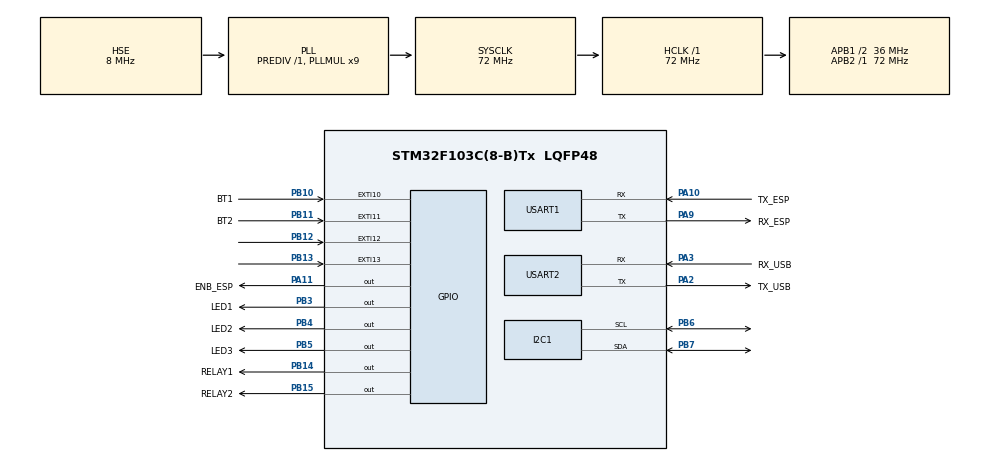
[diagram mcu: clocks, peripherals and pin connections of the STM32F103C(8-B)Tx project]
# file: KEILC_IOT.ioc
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Dma.Request0=USART1_RX
Dma.USART1_RX.0.Direction=DMA_PERIPH_TO_MEMORY
Dma.USART1_RX.0.Instance=DMA1_Channel5
Dma.USART1_RX.0.MemDataAlignment=DMA_MDATAALIGN_BYTE
Dma.USART1_RX.0.MemInc=DMA_MINC_ENABLE
Dma.USART1_RX.0.Mode=DMA_NORMAL
Dma.USART1_RX.0.PeriphDataAlignment=DMA_PDATAALIGN_BYTE
Dma.USART1_RX.0.PeriphInc=DMA_PINC_DISABLE
Dma.USART1_RX.0.Priority=DMA_PRIORITY_LOW
Mcu.Family=STM32F1
Mcu.Name=STM32F103C(8-B)Tx
Mcu.Package=LQFP48
NVIC.DMA1_Channel5_IRQn=true\:0\:0\:false\:false\:true\:false\:true
NVIC.EXTI15_10_IRQn=true\:0\:0\:false\:false\:true\:true\:true
NVIC.PriorityGroup=NVIC_PRIORITYGROUP_4
NVIC.RTC_IRQn=true\:0\:0\:false\:false\:true\:true\:true
NVIC.TIM3_IRQn=true\:0\:0\:false\:false\:true\:true\:true
NVIC.USART1_IRQn=true\:0\:0\:false\:false\:true\:true\:true
NVIC.USART2_IRQn=true\:0\:0\:false\:false\:true\:true\:true
PA10.GPIO_Label=TX_ESP
PA10.Mode=Asynchronous
PA10.Signal=USART1_RX
PA11.GPIO_Label=ENB_ESP
PA11.GPIO_PuPd=GPIO_PULLUP
PA11.PinState=GPIO_PIN_SET
PA11.Signal=GPIO_Output
PA13.Mode=Serial_Wire
PA13.Signal=SYS_JTMS-SWDIO
PA14.Mode=Serial_Wire
PA14.Signal=SYS_JTCK-SWCLK
PA2.GPIO_Label=TX_USB
PA2.Mode=Asynchronous
PA2.Signal=USART2_TX
PA3.GPIO_Label=RX_USB
PA3.Mode=Asynchronous
PA3.Signal=USART2_RX
PA9.GPIO_Label=RX_ESP
PA9.Mode=Asynchronous
PA9.Signal=USART1_TX
PB10.GPIO_Label=BT1
PB10.GPIO_ModeDefaultEXTI=GPIO_MODE_IT_FALLING
PB10.GPIO_PuPd=GPIO_NOPULL
PB10.Signal=GPXTI10
PB11.GPIO_Label=BT2
PB11.GPIO_ModeDefaultEXTI=GPIO_MODE_IT_FALLING
PB11.Signal=GPXTI11
PB12.GPIO_ModeDefaultEXTI=GPIO_MODE_IT_FALLING
PB12.GPIO_PuPd=GPIO_NOPULL
PB12.Signal=GPXTI12
PB13.GPIO_ModeDefaultEXTI=GPIO_MODE_IT_FALLING
PB13.GPIO_PuPd=GPIO_NOPULL
PB13.Signal=GPXTI13
PB14.GPIO_Label=RELAY1
PB14.GPIO_Speed=GPIO_SPEED_FREQ_MEDIUM
PB14.Signal=GPIO_Output
PB15.GPIO_Label=RELAY2
PB15.GPIO_Speed=GPIO_SPEED_FREQ_MEDIUM
PB15.Signal=GPIO_Output
PB3.GPIO_Label=LED1
PB3.GPIO_PuPd=GPIO_NOPULL
PB3.PinState=GPIO_PIN_SET
PB3.Signal=GPIO_Output
PB4.GPIO_Label=LED2
PB4.PinState=GPIO_PIN_SET
PB4.Signal=GPIO_Output
PB5.GPIO_Label=LED3
PB5.PinState=GPIO_PIN_SET
PB5.Signal=GPIO_Output
PB6.Mode=I2C
PB6.Signal=I2C1_SCL
PB7.Mode=I2C
PB7.Signal=I2C1_SDA
PC14-OSC32_IN.Mode=LSE-External-Oscillator
PC14-OSC32_IN.Signal=RCC_OSC32_IN
PC15-OSC32_OUT.Mode=LSE-External-Oscillator
PC15-OSC32_OUT.Signal=RCC_OSC32_OUT
PD0-OSC_IN.Mode=HSE-External-Oscillator
PD0-OSC_IN.Signal=RCC_OSC_IN
PD1-OSC_OUT.Mode=HSE-External-Oscillator
PD1-OSC_OUT.Signal=RCC_OSC_OUT
ProjectManager.HeapSize=0x200
ProjectManager.StackSize=0x400
ProjectManager.TargetToolchain=MDK-ARM V5.27
RCC.AHBFreq_Value=72000000
RCC.APB1CLKDivider=RCC_HCLK_DIV2
RCC.APB1Freq_Value=36000000
RCC.APB1TimFreq_Value=72000000
RCC.APB2Freq_Value=72000000
RCC.APB2TimFreq_Value=72000000
RCC.HCLKFreq_Value=72000000
RCC.PLLMUL=RCC_PLL_MUL9
RCC.PLLSourceVirtual=RCC_PLLSOURCE_HSE
RCC.RTCClockSelection=RCC_RTCCLKSOURCE_HSE_DIV128
RCC.SYSCLKFreq_VALUE=72000000
RCC.SYSCLKSource=RCC_SYSCLKSOURCE_PLLCLK
RCC.USBFreq_Value=72000000
RTC.Format=RTC_FORMAT_BIN
RTC.Hours=16
RTC.Minutes=45
RTC.Month=RTC_MONTH_JULY
RTC.WeekDay=RTC_WEEKDAY_THURSDAY
TIM3.AutoReloadPreload=TIM_AUTORELOAD_PRELOAD_DISABLE
TIM3.Period=1000-1
TIM3.Prescaler=72-1
USART1.VirtualMode=VM_ASYNC
USART2.VirtualMode=VM_ASYNC
VP_RTC_VS_RTC_Activate.Mode=RTC_Enabled
VP_RTC_VS_RTC_Calendar.Mode=RTC_Calendar
VP_TIM3_VS_ClockSourceINT.Mode=Internal
board=custom

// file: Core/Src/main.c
/* USER CODE BEGIN Header */
/**
  ******************************************************************************
  * @file           : main.c
  * @brief          : Main program body
  ******************************************************************************
  * @attention
  *
  * <h2><center>&copy; Copyright (c) 2021 STMicroelectronics.
  * All rights reserved.</center></h2>
  *
  * This software component is licensed by ST under BSD 3-Clause license,
  * the "License"; You may not use this file except in compliance with the
  * License. You may obtain a copy of the License at:
  *                        opensource.org/licenses/BSD-3-Clause
  *
  ******************************************************************************
  */
/* USER CODE END Header */
#include "main.h"
#include "dma.h"
#include "i2c.h"
#include "rtc.h"
#include "tim.h"
#include "usart.h"
#include "gpio.h"

/* USER CODE BEGIN Includes */
#include "stdio.h"
#include "string.h"
/* USER CODE END Includes */

/* USER CODE BEGIN PTD */
volatile uint8_t ret = 0;

uint8_t rx_data1;

uint8_t  rx_index2, rx_data2;
char rx_buffer2[250];
char ResponseRX[250];

uint8_t ConfigAT = 0;
long last = 0;

uint8_t ErrorCode = 0;
uint8_t CheckConnect = 0;

uint32_t TTTB1 = 0;
uint32_t TB1 = 0;
uint32_t TTTB2 = 0;
uint32_t TB2 = 0;

uint8_t Second = 0;
uint8_t Minute = 0;
uint8_t Hour = 0;
uint8_t Date = 0;
uint8_t Day = 0;
uint8_t Month = 0;
uint8_t Year = 0;

/* USER CODE END PTD */

void SystemClock_Config(void);
/* USER CODE BEGIN PFP */
void Received_AT_Commands_ESP(void);
void Reset_ESP(void);
void clearbuffer_UART_ESP(void);
void SettingESP(void);
void Button(void);
void Send_AT_Commands_Setting(char *AT_Commands, char *DataResponse, uint32_t timesend , uint32_t setting, uint32_t count);
/* USER CODE END PFP */

/* USER CODE BEGIN 0 */
#ifdef __GNUC__
     #define PUTCHAR_PROTOTYPE int __io_putchar(int ch)
#else
     #define PUTCHAR_PROTOTYPE int fputc(int ch, FILE *f)
#endif
PUTCHAR_PROTOTYPE
{
	// cong USB
	HAL_UART_Transmit(&huart2,(uint8_t *)&ch,1,0xFFFF);  //A
	// Cong giao tiep ESP
	//HAL_UART_Transmit(&huart2,(uint8_t *)&ch,1,0xFFFF);
	return ch;
}

RTC_TimeTypeDef sTime = {0};
RTC_DateTypeDef DateToUpdate = {0};
RTC_TimeTypeDef currTime = {0};

/* USER CODE END 0 */

int main(void)
{

  /* MCU Configuration--------------------------------------------------------*/

  /* Reset of all peripherals, Initializes the Flash interface and the Systick. */
  HAL_Init();

  /* Configure the system clock */
  SystemClock_Config();

  /* Initialize all configured peripherals */
  MX_GPIO_Init();
  MX_DMA_Init();
  MX_USART1_UART_Init();
  MX_USART2_UART_Init();
  MX_TIM3_Init();
  MX_RTC_Init();
  MX_I2C1_Init();
  /* USER CODE BEGIN 2 */
  HAL_UART_Receive_IT(&huart1, (uint8_t *)&rx_data2, 1);//ESP
	HAL_UART_Receive_IT(&huart2, (uint8_t *)&rx_data1, 1);//USB PC

	printf("start\r\n");
	//SettingESP();
  /* USER CODE END 2 */

  /* Infinite loop */
  while (1)
  {
HAL_GPIO_TogglePin(GPIOB, GPIO_PIN_4);
    /* USER CODE BEGIN 3 */
//		if(ErrorCode == 1)
//		{
//			while(1)
//			{
//			printf("ESP reset!!!\r\n");
//			SettingESP();
//				if (ErrorCode == 0)
//				{
//					printf("ESP reset Suceessfully!!!\r\n");
//					break;
//				}
//			}
//		}
//		else if(ErrorCode == 0)
//		{
//			// get and update data
//			while(1)
//			{
//				Button();
//				if(HAL_GetTick() - last >= 500)
//				{
//				HAL_GPIO_TogglePin(GPIOB,GPIO_PIN_3);
//				last = HAL_GetTick();
//				}
//				if(ErrorCode == 1)
//				{
//					break;
//				}
//			}
//		}

//		HAL_RTC_GetTime(&hrtc,&sTime,RTC_FORMAT_BIN);
//		HAL_RTC_GetDate(&hrtc,&DateToUpdate,RTC_FORMAT_BIN);
//		Second = sTime.Seconds;
//		Minute = sTime.Minutes;
//		Hour   = sTime.Hours;
//		Day = DateToUpdate.Date;
//		Month = DateToUpdate.Month;
//		Year = DateToUpdate.Year;
//		printf("Gio: %d - Phut: %d -  Giay: %d\n", Hour, Minute, Second);
		HAL_Delay(200);
  }
  /* USER CODE END 3 */
}

void SystemClock_Config(void)
{
  RCC_OscInitTypeDef RCC_OscInitStruct = {0};
  RCC_ClkInitTypeDef RCC_ClkInitStruct = {0};
  RCC_PeriphCLKInitTypeDef PeriphClkInit = {0};

  /** Initializes the RCC Oscillators according to the specified parameters
  * in the RCC_OscInitTypeDef structure.
  */
  RCC_OscInitStruct.OscillatorType = RCC_OSCILLATORTYPE_HSE;
  RCC_OscInitStruct.HSEState = RCC_HSE_ON;
  RCC_OscInitStruct.HSEPredivValue = RCC_HSE_PREDIV_DIV1;
  RCC_OscInitStruct.HSIState = RCC_HSI_ON;
  RCC_OscInitStruct.PLL.PLLState = RCC_PLL_ON;
  RCC_OscInitStruct.PLL.PLLSource = RCC_PLLSOURCE_HSE;
  RCC_OscInitStruct.PLL.PLLMUL = RCC_PLL_MUL9;
  if (HAL_RCC_OscConfig(&RCC_OscInitStruct) != HAL_OK)
  {
    Error_Handler();
  }
  /** Initializes the CPU, AHB and APB buses clocks
  */
  RCC_ClkInitStruct.ClockType = RCC_CLOCKTYPE_HCLK|RCC_CLOCKTYPE_SYSCLK
                              |RCC_CLOCKTYPE_PCLK1|RCC_CLOCKTYPE_PCLK2;
  RCC_ClkInitStruct.SYSCLKSource = RCC_SYSCLKSOURCE_PLLCLK;
  RCC_ClkInitStruct.AHBCLKDivider = RCC_SYSCLK_DIV1;
  RCC_ClkInitStruct.APB1CLKDivider = RCC_HCLK_DIV2;
  RCC_ClkInitStruct.APB2CLKDivider = RCC_HCLK_DIV1;

  if (HAL_RCC_ClockConfig(&RCC_ClkInitStruct, FLASH_LATENCY_2) != HAL_OK)
  {
    Error_Handler();
  }
  PeriphClkInit.PeriphClockSelection = RCC_PERIPHCLK_RTC;
  PeriphClkInit.RTCClockSelection = RCC_RTCCLKSOURCE_HSE_DIV128;
  if (HAL_RCCEx_PeriphCLKConfig(&PeriphClkInit) != HAL_OK)
  {
    Error_Handler();
  }
}

/* USER CODE BEGIN 4 */
void Button()
{
	// PB14 OUTPUT , PB15 OUTPUT
	//PB12 INPUT , PB13 INPUT
	if(HAL_GPIO_ReadPin(GPIOB, GPIO_PIN_12) == 0)
	{
		HAL_Delay(300);
		printf("Nut 1 start\r\n");
		while(1)
		{
			last = HAL_GetTick();
			if(HAL_GPIO_ReadPin(GPIOB, GPIO_PIN_12) == 1)
			{
				if(TTTB1 == 0)
				{
					TTTB1 = 1;
					HAL_GPIO_WritePin(GPIOB, GPIO_PIN_14, GPIO_PIN_SET);
				}
				else if(TTTB1 == 1)
				{
					TTTB1 = 0;
					 HAL_GPIO_WritePin(GPIOB, GPIO_PIN_14, GPIO_PIN_RESET);
				}
				HAL_Delay(300);
				break;
			}
		}
	}

	if(HAL_GPIO_ReadPin(GPIOB, GPIO_PIN_13) == 0)
	{
		printf("Nut 2 start\r\n");
		HAL_Delay(300);
		while(1)
		{
			last = HAL_GetTick();
			if(HAL_GPIO_ReadPin(GPIOB, GPIO_PIN_13) == 1)
			{
				if(TTTB2 == 0)
				{
					TTTB2 = 1;
					HAL_GPIO_WritePin(GPIOB, GPIO_PIN_15, GPIO_PIN_SET);
				}
				else if(TTTB2 == 1)
				{
					TTTB2 = 0;
					HAL_GPIO_WritePin(GPIOB, GPIO_PIN_15, GPIO_PIN_RESET);
				}
				HAL_Delay(300);

				break;

			}
		}
	}

	//CheckUpdateDK();

}

void SettingESP()
{
	Send_AT_Commands_Setting("AT+RST\r\n", "OK", 1000 , 0,10);

	HAL_Delay(100);

	Send_AT_Commands_Setting("AT\r\n", "OK", 2500, 0, 10);

	//HAL_Delay(100);

	Send_AT_Commands_Setting("ATE0\r\n", "OK" , 1000, 0, 10);

	//HAL_Delay(3000);

	Send_AT_Commands_Setting("AT+CWMODE=1,1\r\n", "OK", 1000, 0 ,10);

	//HAL_Delay(3000);

	Send_AT_Commands_Setting("AT+CWJAP=\"Le Hoang 1\",\"hoang1801\"\r\n", "WIFI CONNECTED", 1500, 0 ,10);

	//HAL_Delay(3000);

	Send_AT_Commands_Setting("AT+CIPMUX=0\r\n", "OK", 1000 , 0, 10);

	//HAL_Delay(3000);

	Send_AT_Commands_Setting("AT+CIPSTART=\"TCP\",\"188.166.206.43\",80\r\n", "CONNECT\r\n\r\nOK", 1000, 0, 10);

	//HAL_Delay(3000);

	ErrorCode = 0;
}

void Send_AT_Commands_Setting(char *AT_Commands, char *DataResponse, uint32_t timesend , uint32_t setting, uint32_t count)
{
	uint32_t Count = 0;

	last = HAL_GetTick();
	ConfigAT = setting;
	uint8_t Size_AT = 100;
	char DataSendAT[Size_AT];
	for(int i = 0 ; i < Size_AT; i++)
	{
		DataSendAT[i] = 0;
	}
	// dua data lenh AT_Commands vao mang  DataSendAT
	//snprintf(DataSendAT, sizeof(DataSendAT),"%s\r\n", AT_Commands);
	sprintf(DataSendAT,"%s\r\n",AT_Commands);
	// send ESP qua cong UART2
	//clearbuffer_UART_ESP();
	HAL_UART_Transmit(&huart1,(uint8_t *)&DataSendAT,strlen(DataSendAT),1000);
	printf("Send AT-Commands Setting: %s\r\n", DataSendAT);
	// dung doi phan hoi + doi lau qua thi goi tiep ( phan hoi tu ham ngat uart2)
	last = HAL_GetTick();
	while(1)
	{
		// qua 5s thi gui lai lenh cu ( gui khi nao ok thi thoi)

		if(HAL_GetTick() - last >= timesend)
		{
			Count ++;
			HAL_UART_Transmit(&huart1,(uint8_t *)&DataSendAT,strlen(DataSendAT),1000);
			printf("Send AT-Commands Setting TimeSend: %s\r\n", DataSendAT);
			last = HAL_GetTick();
		}

		if(strstr(rx_buffer2,DataResponse) != NULL)
		{
			//printf("Data Buffer2: %s\r\n",rx_buffer2);
			printf("Reponse Setting: %s\r\n",DataResponse);
			clearbuffer_UART_ESP();
			last = HAL_GetTick();
			Count = 0;
			break;
		}
		if (Count >= count)
		{
			Count = 0;
			Reset_ESP();
			HAL_Delay(500);
			//break;
		}
	}
}

void Reset_ESP()
{

	HAL_GPIO_WritePin(GPIOB,GPIO_PIN_13,GPIO_PIN_RESET);
	HAL_Delay(300);
	HAL_GPIO_WritePin(GPIOB,GPIO_PIN_13,GPIO_PIN_SET);
}

void Received_AT_Commands_ESP()
{
	rx_buffer2[rx_index2++] = rx_data2;
}

void clearbuffer_UART_ESP()
{
	for(int i = 0 ; i < 250 ; i++)
	{
		rx_buffer2[i] = 0;
	}
	rx_index2 = 0;
}

void HAL_UART_RxCpltCallback(UART_HandleTypeDef *huart)
{
	// che do setting ConfigAT = 0
	if(ConfigAT == 0)
	{
		if(huart -> Instance == USART1)
		{
			Received_AT_Commands_ESP();
			HAL_UART_Receive_IT(&huart1,&rx_data2,1);
		}
	}
	else if(ConfigAT == 1)
	{
		if(huart -> Instance == USART1)
		{
			//Received_AT_Commands_ESP_SendBlynk();
			HAL_UART_Receive_IT(&huart1,&rx_data2,1);
		}
	}
	else if(ConfigAT == 2)
	{
		if(huart -> Instance == USART1)
		{
			//Received_AT_Commands_ESP_GetBlynk();
			HAL_UART_Receive_IT(&huart1,&rx_data2,1);
		}
	}
}

void HAL_GPIO_EXTI_Callback(uint16_t GPIO_Pin)
{
	  if (GPIO_Pin == GPIO_PIN_10)
			{
				ret ++;
			HAL_GPIO_TogglePin(GPIOB, GPIO_PIN_3);
			}
			else
				{
				ret = 0;
				}

}

/* USER CODE END 4 */

void Error_Handler(void)
{
  __disable_irq();
  while (1)
  {
  }
}

/************************ (C) COPYRIGHT STMicroelectronics *****END OF FILE****/
